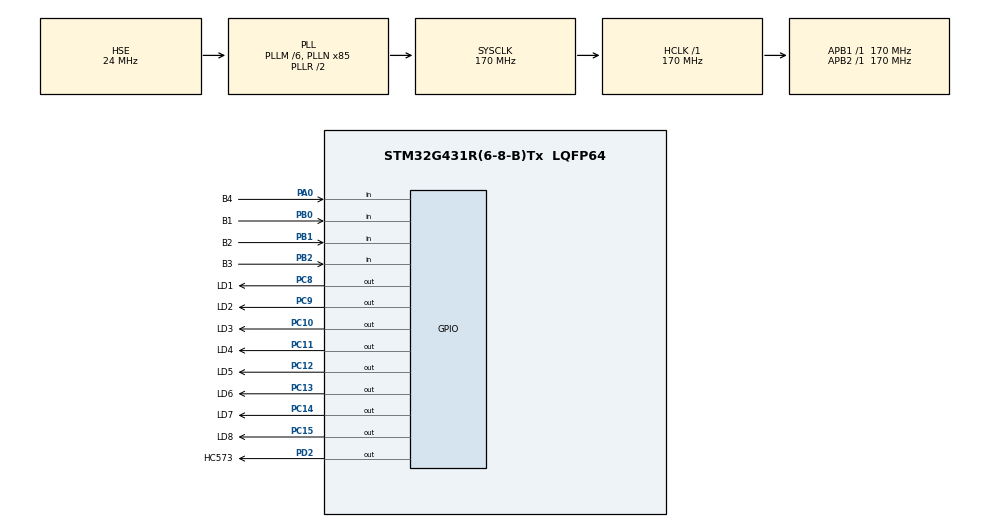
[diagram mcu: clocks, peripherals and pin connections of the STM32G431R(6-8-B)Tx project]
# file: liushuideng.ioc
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Mcu.Family=STM32G4
Mcu.Name=STM32G431R(6-8-B)Tx
Mcu.Package=LQFP64
NVIC.PriorityGroup=NVIC_PRIORITYGROUP_4
PA0.GPIO_Label=B4
PA0.GPIO_PuPd=GPIO_PULLUP
PA0.Signal=GPIO_Input
PA13.Mode=Serial_Wire
PA13.Signal=SYS_JTMS-SWDIO
PA14.Mode=Serial_Wire
PA14.Signal=SYS_JTCK-SWCLK
PB0.GPIO_Label=B1
PB0.GPIO_PuPd=GPIO_PULLUP
PB0.Signal=GPIO_Input
PB1.GPIO_Label=B2
PB1.GPIO_PuPd=GPIO_PULLUP
PB1.Signal=GPIO_Input
PB2.GPIO_Label=B3
PB2.GPIO_PuPd=GPIO_PULLUP
PB2.Signal=GPIO_Input
PC10.GPIO_Label=LD3
PC10.Signal=GPIO_Output
PC11.GPIO_Label=LD4
PC11.Signal=GPIO_Output
PC12.GPIO_Label=LD5
PC12.Signal=GPIO_Output
PC13.GPIO_Label=LD6
PC13.Signal=GPIO_Output
PC14-OSC32_IN.GPIO_Label=LD7
PC14-OSC32_IN.Signal=GPIO_Output
PC15-OSC32_OUT.GPIO_Label=LD8
PC15-OSC32_OUT.Signal=GPIO_Output
PC8.GPIO_Label=LD1
PC8.Signal=GPIO_Output
PC9.GPIO_Label=LD2
PC9.Signal=GPIO_Output
PD2.GPIO_Label=HC573
PD2.Signal=GPIO_Output
PF0-OSC_IN.Mode=HSE-External-Oscillator
PF0-OSC_IN.Signal=RCC_OSC_IN
PF1-OSC_OUT.Mode=HSE-External-Oscillator
PF1-OSC_OUT.Signal=RCC_OSC_OUT
ProjectManager.HeapSize=0x200
ProjectManager.StackSize=0x400
ProjectManager.TargetToolchain=MDK-ARM V5
RCC.ADC12Freq_Value=170000000
RCC.AHBFreq_Value=170000000
RCC.APB1Freq_Value=170000000
RCC.APB1TimFreq_Value=170000000
RCC.APB2Freq_Value=170000000
RCC.APB2TimFreq_Value=170000000
RCC.CortexFreq_Value=170000000
RCC.EXTERNAL_CLOCK_VALUE=12288000
RCC.HCLKFreq_Value=170000000
RCC.HSE_VALUE=24000000
RCC.HSI48_VALUE=48000000
RCC.HSI_VALUE=16000000
RCC.LSE_VALUE=32768
RCC.PLLM=RCC_PLLM_DIV6
RCC.PLLN=85
RCC.PLLSourceVirtual=RCC_PLLSOURCE_HSE
RCC.SYSCLKFreq_VALUE=170000000
RCC.SYSCLKSource=RCC_SYSCLKSOURCE_PLLCLK
RCC.USBFreq_Value=170000000
RCC.VCOOutputFreq_Value=340000000
VP_SYS_VS_DBSignals.Mode=DisableDeadBatterySignals
board=custom

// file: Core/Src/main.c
/* USER CODE BEGIN Header */
/**
  ******************************************************************************
  * @file           : main.c
  * @brief          : Main program body
  ******************************************************************************
  * @attention
  *
  * Copyright (c) 2025 STMicroelectronics.
  * All rights reserved.
  *
  * This software is licensed under terms that can be found in the LICENSE file
  * in the root directory of this software component.
  * If no LICENSE file comes with this software, it is provided AS-IS.
  *
  ******************************************************************************
  */
/* USER CODE END Header */
#include "main.h"
#include "gpio.h"

void SystemClock_Config(void);
/* USER CODE BEGIN PFP */
void LED_Init(void);
void LED_ON(unsigned short int Pin);
void LED_OFF(unsigned short int Pin);
void LED_To(unsigned short int Pin);
unsigned char Read_KEY(void);
void Zheng_LiuShui(void);
void Fan_LiuShui(void);
/* USER CODE END PFP */

int main(void)
{

  /* MCU Configuration--------------------------------------------------------*/

  /* Reset of all peripherals, Initializes the Flash interface and the Systick. */
  HAL_Init();

  /* Configure the system clock */
  SystemClock_Config();

  /* Initialize all configured peripherals */
  MX_GPIO_Init();
  /* USER CODE BEGIN 2 */
	LED_Init();
	uint8_t a=0;
	uint8_t b=0;

  /* USER CODE END 2 */

  /* Infinite loop */
  while (1)
  {
		if (Read_KEY()== 1) {
      a = 1;
    }
    else if (Read_KEY() == 2) {
      a = 2;
    }
		else if(Read_KEY()==3){
			b=1;
		}else if(Read_KEY()==4){
			b=2;
		}

    switch(a) {
      case 1:
        LED_ON(LD1_Pin);
        HAL_Delay(100);
        LED_OFF(LD1_Pin);
				LED_ON(LD2_Pin);
        HAL_Delay(100);
        LED_OFF(LD2_Pin);
				LED_ON(LD3_Pin);
        HAL_Delay(100);
        LED_OFF(LD3_Pin);
				LED_ON(LD4_Pin);
        HAL_Delay(100);
        LED_OFF(LD4_Pin);

        break;

      case 2:
        LED_ON(LD4_Pin);
        HAL_Delay(100);
        LED_OFF(LD4_Pin);
				LED_ON(LD3_Pin);
        HAL_Delay(100);
        LED_OFF(LD3_Pin);
				LED_ON(LD2_Pin);
        HAL_Delay(100);
        LED_OFF(LD2_Pin);
				LED_ON(LD1_Pin);
        HAL_Delay(100);
        LED_OFF(LD1_Pin);
        break;

      default:
        LED_OFF(LD1_Pin);
        LED_OFF(LD2_Pin);
        LED_OFF(LD3_Pin);
        LED_OFF(LD4_Pin);
        break;
    }
		switch(b){
			case 1:
				LED_ON(LD5_Pin);
        LED_ON(LD6_Pin);
        LED_ON(LD7_Pin);
        LED_ON(LD8_Pin);
				HAL_Delay(100);
				LED_OFF(LD5_Pin);
        LED_OFF(LD6_Pin);
        LED_OFF(LD7_Pin);
        LED_OFF(LD8_Pin);
				break;
			case 2:
				LED_OFF(LD1_Pin);
        LED_OFF(LD2_Pin);
        LED_OFF(LD3_Pin);
        LED_OFF(LD4_Pin);
				break;
			default:
				break;
		}

}
}
void SystemClock_Config(void)
{
  RCC_OscInitTypeDef RCC_OscInitStruct = {0};
  RCC_ClkInitTypeDef RCC_ClkInitStruct = {0};

  /** Configure the main internal regulator output voltage
  */
  HAL_PWREx_ControlVoltageScaling(PWR_REGULATOR_VOLTAGE_SCALE1_BOOST);

  /** Initializes the RCC Oscillators according to the specified parameters
  * in the RCC_OscInitTypeDef structure.
  */
  RCC_OscInitStruct.OscillatorType = RCC_OSCILLATORTYPE_HSE;
  RCC_OscInitStruct.HSEState = RCC_HSE_ON;
  RCC_OscInitStruct.PLL.PLLState = RCC_PLL_ON;
  RCC_OscInitStruct.PLL.PLLSource = RCC_PLLSOURCE_HSE;
  RCC_OscInitStruct.PLL.PLLM = RCC_PLLM_DIV6;
  RCC_OscInitStruct.PLL.PLLN = 85;
  RCC_OscInitStruct.PLL.PLLP = RCC_PLLP_DIV2;
  RCC_OscInitStruct.PLL.PLLQ = RCC_PLLQ_DIV2;
  RCC_OscInitStruct.PLL.PLLR = RCC_PLLR_DIV2;
  if (HAL_RCC_OscConfig(&RCC_OscInitStruct) != HAL_OK)
  {
    Error_Handler();
  }

  /** Initializes the CPU, AHB and APB buses clocks
  */
  RCC_ClkInitStruct.ClockType = RCC_CLOCKTYPE_HCLK|RCC_CLOCKTYPE_SYSCLK
                              |RCC_CLOCKTYPE_PCLK1|RCC_CLOCKTYPE_PCLK2;
  RCC_ClkInitStruct.SYSCLKSource = RCC_SYSCLKSOURCE_PLLCLK;
  RCC_ClkInitStruct.AHBCLKDivider = RCC_SYSCLK_DIV1;
  RCC_ClkInitStruct.APB1CLKDivider = RCC_HCLK_DIV1;
  RCC_ClkInitStruct.APB2CLKDivider = RCC_HCLK_DIV1;

  if (HAL_RCC_ClockConfig(&RCC_ClkInitStruct, FLASH_LATENCY_4) != HAL_OK)
  {
    Error_Handler();
  }
}

/* USER CODE BEGIN 4 */
void LED_Init(void){
	HAL_GPIO_WritePin(HC573_GPIO_Port, HC573_Pin, GPIO_PIN_SET);
	HAL_GPIO_WritePin(GPIOC, LD6_Pin|LD7_Pin|LD8_Pin|LD1_Pin|LD2_Pin|LD3_Pin|LD4_Pin|LD5_Pin, GPIO_PIN_SET);
	HAL_GPIO_WritePin(GPIOC, LD6_Pin|LD7_Pin|LD8_Pin|LD1_Pin|LD2_Pin|LD3_Pin|LD4_Pin|LD5_Pin, GPIO_PIN_RESET);
	HAL_Delay(100);
	HAL_GPIO_WritePin(GPIOC, LD6_Pin|LD7_Pin|LD8_Pin|LD1_Pin|LD2_Pin|LD3_Pin|LD4_Pin|LD5_Pin, GPIO_PIN_SET);
}
void LED_ON(unsigned short int Pin){
	HAL_GPIO_WritePin(HC573_GPIO_Port, HC573_Pin, GPIO_PIN_SET);
	HAL_GPIO_WritePin(GPIOC, Pin, GPIO_PIN_RESET);
	HAL_GPIO_WritePin(HC573_GPIO_Port, HC573_Pin, GPIO_PIN_RESET);
}
void LED_OFF(unsigned short int Pin){
	HAL_GPIO_WritePin(HC573_GPIO_Port, HC573_Pin, GPIO_PIN_SET);
	HAL_GPIO_WritePin(GPIOC, Pin, GPIO_PIN_SET);
	HAL_GPIO_WritePin(HC573_GPIO_Port, HC573_Pin, GPIO_PIN_RESET);
}
void LED_To(unsigned short int Pin){
	HAL_GPIO_WritePin(HC573_GPIO_Port, HC573_Pin, GPIO_PIN_SET);
	HAL_GPIO_TogglePin(GPIOC, Pin);
	HAL_GPIO_WritePin(HC573_GPIO_Port, HC573_Pin, GPIO_PIN_RESET);
}
unsigned char Read_KEY(void){
	unsigned char value=0;
	if(HAL_GPIO_ReadPin(B1_GPIO_Port,B1_Pin)==GPIO_PIN_RESET){
			HAL_Delay(20);
			if(HAL_GPIO_ReadPin(B1_GPIO_Port,B1_Pin)==GPIO_PIN_RESET){
				value=1;
				//while(HAL_GPIO_ReadPin(B1_GPIO_Port,B1_Pin)==GPIO_PIN_RESET);
			}
		}
	if(HAL_GPIO_ReadPin(B2_GPIO_Port,B2_Pin)==GPIO_PIN_RESET){
			HAL_Delay(20);
			if(HAL_GPIO_ReadPin(B2_GPIO_Port,B2_Pin)==GPIO_PIN_RESET){
				value=2;
				//while(HAL_GPIO_ReadPin(B2_GPIO_Port,B2_Pin)==GPIO_PIN_RESET);
			}
		}
	if(HAL_GPIO_ReadPin(B3_GPIO_Port,B3_Pin)==GPIO_PIN_RESET){
			HAL_Delay(20);
			if(HAL_GPIO_ReadPin(B3_GPIO_Port,B3_Pin)==GPIO_PIN_RESET){
				value=3;
				//while(HAL_GPIO_ReadPin(B3_GPIO_Port,B3_Pin)==GPIO_PIN_RESET);
			}
		}
	if(HAL_GPIO_ReadPin(B4_GPIO_Port,B4_Pin)==GPIO_PIN_RESET){
			HAL_Delay(20);
			if(HAL_GPIO_ReadPin(B4_GPIO_Port,B4_Pin)==GPIO_PIN_RESET){
				value=4;
				//while(HAL_GPIO_ReadPin(B4_GPIO_Port,B4_Pin)==GPIO_PIN_RESET);
			}
		}
	return value;
}
void Zheng_LiuShui(void){
	LED_ON(LD1_Pin);
	HAL_Delay(100);
	LED_OFF(LD1_Pin);
	LED_ON(LD2_Pin);
	HAL_Delay(100);
	LED_OFF(LD2_Pin);
	LED_ON(LD3_Pin);
	HAL_Delay(100);
	LED_OFF(LD3_Pin);
	LED_ON(LD4_Pin);
	HAL_Delay(100);
	LED_OFF(LD4_Pin);
	LED_ON(LD5_Pin);
	HAL_Delay(100);
	LED_OFF(LD5_Pin);
	LED_ON(LD6_Pin);
	HAL_Delay(100);
	LED_OFF(LD6_Pin);
	LED_ON(LD7_Pin);
	HAL_Delay(100);
	LED_OFF(LD7_Pin);
	LED_ON(LD8_Pin);
	HAL_Delay(100);
	LED_OFF(LD8_Pin);
}
void Fan_LiuShui(void){
	LED_ON(LD8_Pin);
	HAL_Delay(100);
	LED_OFF(LD8_Pin);
	LED_ON(LD7_Pin);
	HAL_Delay(100);
	LED_OFF(LD7_Pin);
	LED_ON(LD6_Pin);
	HAL_Delay(100);
	LED_OFF(LD6_Pin);
	LED_ON(LD5_Pin);
	HAL_Delay(100);
	LED_OFF(LD5_Pin);
	LED_ON(LD4_Pin);
	HAL_Delay(100);
	LED_OFF(LD4_Pin);
	LED_ON(LD3_Pin);
	HAL_Delay(100);
	LED_OFF(LD3_Pin);
	LED_ON(LD2_Pin);
	HAL_Delay(100);
	LED_OFF(LD2_Pin);
	LED_ON(LD1_Pin);
	HAL_Delay(100);
	LED_OFF(LD1_Pin);
}
/* USER CODE END 4 */

void Error_Handler(void)
{
  __disable_irq();
  while (1)
  {
  }
}
